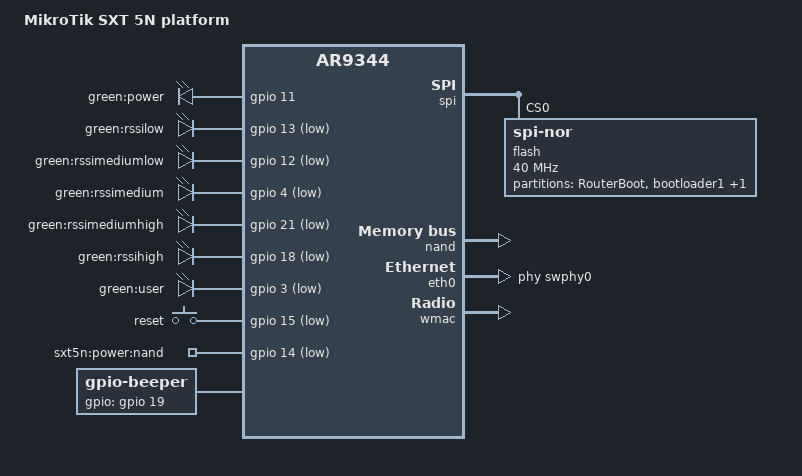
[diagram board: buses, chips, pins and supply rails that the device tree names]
// SPDX-License-Identifier: GPL-2.0-or-later OR MIT

#include "ar9344.dtsi"

#include <dt-bindings/gpio/gpio.h>
#include <dt-bindings/input/input.h>

/ {
	compatible = "mikrotik,routerboard-sxt-5n", "qca,ar9344";
	model = "MikroTik SXT 5N platform";

	aliases {
		led-boot = &led_user;
		led-failsafe = &led_user;
		led-running = &led_user;
		led-upgrade = &led_user;
	};

	leds {
		compatible = "gpio-leds";

		power {
			label = "green:power";
			gpios = <&gpio 11 GPIO_ACTIVE_HIGH>;
			default-state = "on";
		};

		rssilow {
			label = "green:rssilow";
			gpios = <&gpio 13 GPIO_ACTIVE_LOW>;
		};

		rssimediumlow {
			label = "green:rssimediumlow";
			gpios = <&gpio 12 GPIO_ACTIVE_LOW>;
		};

		rssimedium {
			label = "green:rssimedium";
			gpios = <&gpio 4 GPIO_ACTIVE_LOW>;
		};

		rssimediumhigh {
			label = "green:rssimediumhigh";
			gpios = <&gpio 21 GPIO_ACTIVE_LOW>;
		};

		rssihigh {
			label = "green:rssihigh";
			gpios = <&gpio 18 GPIO_ACTIVE_LOW>;
		};

		led_user: user {
			label = "green:user";
			gpios = <&gpio 3 GPIO_ACTIVE_LOW>;
		};
	};

	keys {
		compatible = "gpio-keys";

		reset {
			label = "reset";
			linux,code = <KEY_RESTART>;
			gpios = <&gpio 15 GPIO_ACTIVE_LOW>;
			debounce-interval = <60>;
		};
	};

	gpio-export {
		compatible = "gpio-export";

		gpio_nand_power {
			gpio-export,name = "sxt5n:power:nand";
			gpio-export,output = <0>;
			gpios = <&gpio 14 GPIO_ACTIVE_LOW>;
		};
	};

	beeper {
		compatible = "gpio-beeper";
		gpios = <&gpio 19 GPIO_ACTIVE_HIGH>;
	};
};

&spi {
	status = "okay";

	flash@0 {
		compatible = "jedec,spi-nor";
		reg = <0>;
		spi-max-frequency = <40000000>;

		partitions {
			compatible = "fixed-partitions";
			#address-cells = <1>;
			#size-cells = <1>;

			partition@0 {
				label = "RouterBoot";
				reg = <0x0 0x20000>;
				read-only;
				compatible = "mikrotik,routerboot-partitions";
				#address-cells = <1>;
				#size-cells = <1>;

				partition@0 {
					label = "bootloader1";
					reg = <0x0 0x0>;
					read-only;
				};

				hard_config: hard_config {
					read-only;
				};

				bios {
					size = <0x1000>;
					read-only;
				};

				soft_config {
				};

				partition@10000 {
					label = "bootloader2";
					reg = <0x10000 0x10000>;
					read-only;
				};
			};
		};
	};
};

&nand {
	status = "okay";

	nand-ecc-mode = "soft";
	qca,nand-swap-dma;
	qca,nand-scan-fixup;

	partitions {
		compatible = "fixed-partitions";
		#address-cells = <1>;
		#size-cells = <1>;

		partition@0 {
			label = "booter";
			reg = <0x0000000 0x0040000>;
			read-only;
		};

		partition@40000 {
			label = "kernel";
			reg = <0x0040000 0x03c0000>;
		};

		partition@400000 {
			label = "ubi";
			reg = <0x0400000 0x7c00000>;
		};
	};
};

&eth0 {
	status = "okay";

	phy-handle = <&swphy0>;

	gmac-config {
		device = <&gmac>;
		switch-phy-swap = <1>;
	};
};

&eth1 {
	status = "okay";

	compatible = "syscon", "simple-mfd";
};

&wmac {
	status = "okay";

	qca,no-eeprom;
};
